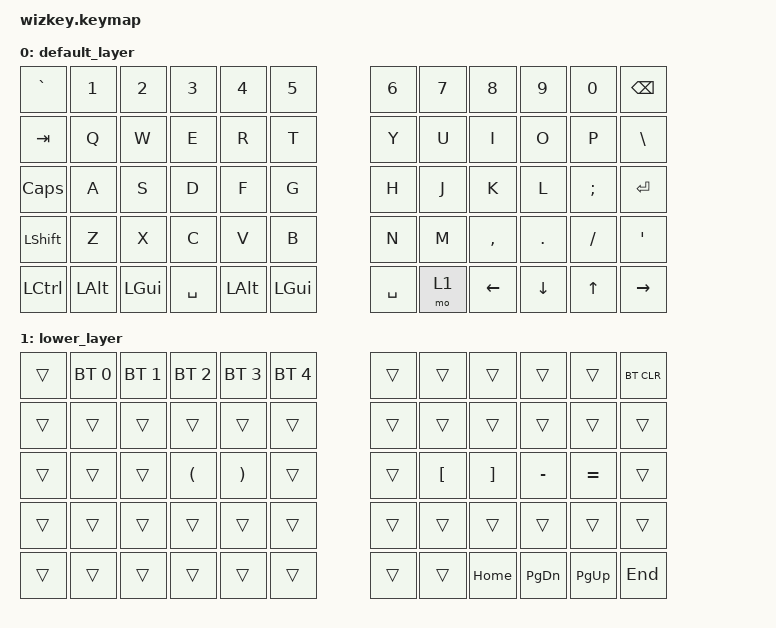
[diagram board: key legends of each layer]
#include <behaviors.dtsi>
#include <dt-bindings/zmk/keys.h>
#include <dt-bindings/zmk/bt.h>

/ {
        keymap {
                compatible = "zmk,keymap";

                default_layer {
// ---------------------------------------------------------------------------------
// |   `  |  1  |  2  |  3  |  4  |  5  |     |  6  |  7  |  8  |  9  |  0  | BKSP |
// |  TAB |  Q  |  W  |  E  |  R  |  T  |     |  Y  |  U  |  I  |  O  |  P  |  \   |
// | CAPS |  A  |  S  |  D  |  F  |  G  |     |  H  |  J  |  K  |  L  |  ;  |  ENT |
// | SHFT |  Z  |  X  |  C  |  V  |  B  |     |  N  |  M  |  ,  |  .  |  /  | APOS |
// | CTRL | ALT | GUI | SPC | SPC | SPC |     | SPC | LOW |LARW |DARW |UARW | RARW |
                        bindings = <
   &kp GRAVE  &kp N1    &kp N2    &kp N3     &kp N4     &kp N5               &kp N6     &kp N7  &kp N8     &kp N9    &kp N0    &kp BSPC
   &kp TAB    &kp Q     &kp W     &kp E      &kp R      &kp T                &kp Y      &kp U   &kp I      &kp O     &kp P     &kp BSLH
   &kp CAPS   &kp A     &kp S     &kp D      &kp F      &kp G                &kp H      &kp J   &kp K      &kp L     &kp SEMI  &kp RET
   &kp LSHFT  &kp Z     &kp X     &kp C      &kp V      &kp B                &kp N      &kp M   &kp COMMA  &kp DOT   &kp FSLH  &kp APOS
   &kp LCTRL  &kp LALT  &kp LGUI  &kp SPACE  &kp LALT   &kp LGUI             &kp SPACE  &mo 1   &kp LEFT   &kp DOWN  &kp UP    &kp RIGHT
                        >;
                };
                lower_layer {
// ------------------------------------------------------------------------------------------------------------
// |       |  BT1  |  BT2  |  BT3  |  BT4  |  BT5  |          |       |       |       |       |       | BTCLR |
// |       |       |       |       |       |       |          |       |       |       |       |       |       |
// |       |       |       | LPAR  | RPAR  |       |          |       | LBKT  | RBKT  | MINUS | EQUAL |       |
// |       |       |       |       |       |       |          |       |       |       |       |       |       |
// |       |       |       |       |       |       |          |       |       | HOME  | PGDN  | PGUP  | END   |
                        bindings = <
   &trans    &bt BT_SEL 0   &bt BT_SEL 1   &bt BT_SEL 2   &bt BT_SEL 3   &bt BT_SEL 4           &trans    &trans    &trans     &trans     &trans    &bt BT_CLR
   &trans    &trans         &trans         &trans         &trans         &trans                 &trans    &trans    &trans     &trans     &trans    &trans
   &trans    &trans         &trans         &kp LPAR       &kp RPAR       &trans                 &trans    &kp LBKT  &kp RBKT   &kp MINUS  &kp EQUAL &trans
   &trans    &trans         &trans         &trans         &trans         &trans                 &trans    &trans    &trans     &trans     &trans    &trans
   &trans    &trans         &trans         &trans         &trans         &trans                 &trans    &trans    &kp HOME   &kp PG_DN  &kp PG_UP &kp END
                        >;
                };
        };
};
